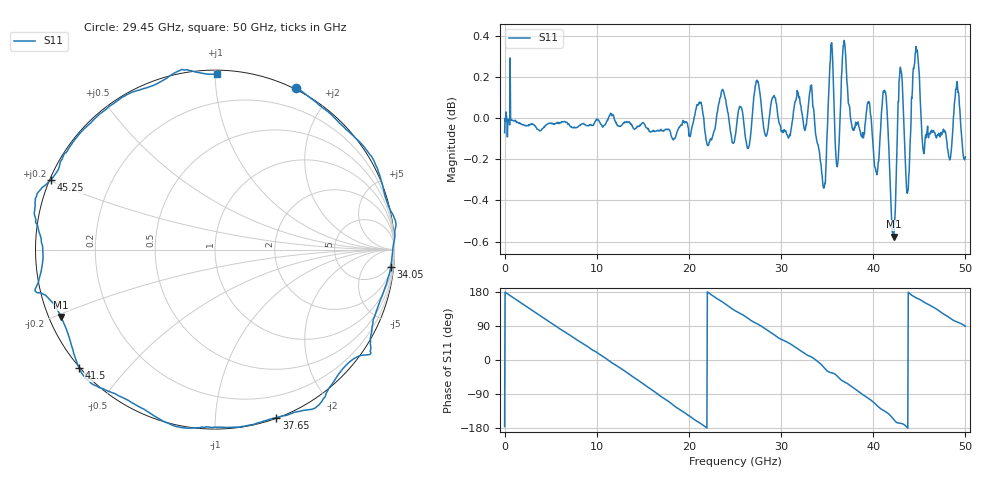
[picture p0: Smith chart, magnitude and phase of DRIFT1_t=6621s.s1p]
!Created with skrf (http://scikit-rf.org).
# Hz S RI R 50.0
!freq ReS11 ImS11
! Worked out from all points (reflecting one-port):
!   1001 points, 300 kHz to 50 GHz, reference 50 ohm
!   lowest |S11| = -0.6 dB at 42.2 GHz (marker M1), VSWR 30.18, Z = 1.73 - j10.5 ohm
!   phase of S11 starts at -176 deg and turns -815 deg over the sweep
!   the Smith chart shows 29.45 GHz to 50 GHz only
!   S11 on the Smith chart (normalised r, x): 29.45 GHz: -0.02, +1.62; 34.05 GHz: 3, -20; 37.65 GHz: 0.01, -1.43; 41.5 GHz: -0.00, -0.37; 45.25 GHz: 0.00, +0.20; 50 GHz: 0.02, +1.01
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300000  -0.9892 -0.0725
1.550291e9  -0.899 0.4312
3.30028e9  -0.581 0.8087
6.250262e9  0.2012 0.9775
9.500243e9  0.8902 0.4464
1.115023e10  0.9989 0.0196
1.250022e10  0.9327 -0.348
1.580021e10  0.2412 -0.9627
1.73502e10  -0.2091 -0.9709
1.875019e10  -0.5955 -0.7944
2.155017e10  -0.9921 -0.1355
2.350016e10  -0.9216 0.423
2.500015e10  -0.6395 0.7554
2.735014e10  -0.1089 1.015
2.945012e10  0.454 0.9007
3.125011e10  0.7813 0.6226
3.30501e10  0.9945 0.1874
3.40501e10  0.9793 -0.0965
3.520009e10  0.8672 -0.536
3.750008e10  0.3836 -0.9255
3.765007e10  0.3421 -0.9362
3.955006e10  -0.2135 -0.9863
4.150005e10  -0.7572 -0.6594
4.220005e10  -0.8573 -0.3753
4.375004e10  -0.9598 -0.00174
4.525003e10  -0.9151 0.3889
4.775001e10  -0.491 0.8632
5e10  0.0134 0.9785
